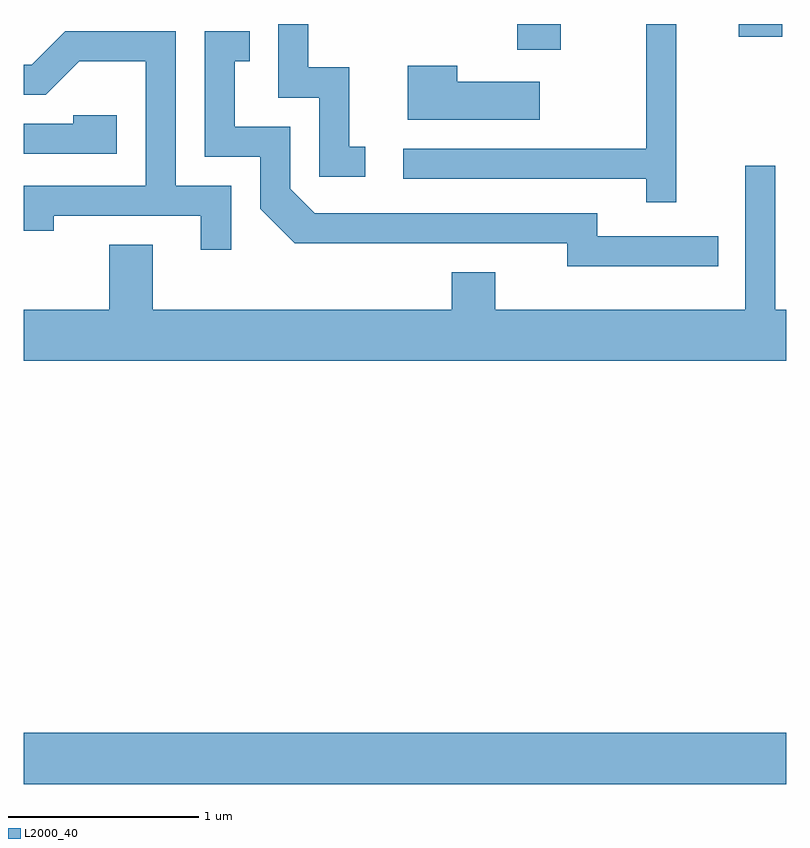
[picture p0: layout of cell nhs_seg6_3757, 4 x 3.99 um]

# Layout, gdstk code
import gdstk
lib = gdstk.Library(unit=1e-6, precision=1e-09)
def R(c, l, rs):  # rectangles x0, y0, x1, y1
    for r in rs: c.add(gdstk.rectangle(r[:2], r[2:], *l))
def P(c, l, *ps):  # polygons
    for p in ps: c.add(gdstk.Polygon(p, *l))
L2000_40 = (2000, 40)

nhs_seg6_3757 = lib.new_cell('nhs_seg6_3757')
R(nhs_seg6_3757, L2000_40, [(297.611,1632.176,301.611,1632.444), (300.201,1636.026,300.429,1636.162), (301.361,1636.096,301.589,1636.162)])
P(nhs_seg6_3757, L2000_40, [(299.403,1635.519),(299.319,1635.519),(299.319,1635.934),(299.104,1635.934),(299.104,1636.162),(298.946,1636.162),(298.946,1635.776),(299.161,1635.776),(299.161,1635.361),(299.403,1635.361)],
  [(301.034,1636.162),(300.876,1636.162),(300.876,1635.509),(299.603,1635.509),(299.603,1635.351),(300.876,1635.351),(300.876,1635.228),(301.034,1635.228)],
  [(298.699,1635.314),(298.409,1635.314),(298.409,1636.124),(297.829,1636.124),(297.654,1635.949),(297.611,1635.949),(297.611,1635.791),(297.727,1635.791),(297.902,1635.966),(298.251,1635.966),(298.251,1635.314),(297.611,1635.314),(297.611,1635.078),(297.769,1635.078),(297.769,1635.156),(298.541,1635.156),(298.541,1634.978),(298.699,1634.978)],
  [(301.253,1635.049),(300.619,1635.049),(300.619,1635.169),(299.137,1635.169),(299.009,1635.297),(299.009,1635.624),(298.719,1635.624),(298.719,1635.966),(298.798,1635.966),(298.798,1636.124),(298.561,1636.124),(298.561,1635.466),(298.851,1635.466),(298.851,1635.194),(299.034,1635.011),(300.461,1635.011),(300.461,1634.891),(301.253,1634.891)],
  [(300.319,1635.859),(299.884,1635.859),(299.884,1635.944),(299.626,1635.944),(299.626,1635.661),(300.319,1635.661)],
  [(298.099,1635.684),(297.871,1635.684),(297.871,1635.639),(297.611,1635.639),(297.611,1635.481),(298.099,1635.481)],
  [(301.611,1634.664),(301.554,1634.664),(301.554,1635.418),(301.396,1635.418),(301.396,1634.664),(300.084,1634.664),(300.084,1634.859),(299.856,1634.859),(299.856,1634.664),(298.289,1634.664),(298.289,1635.004),(298.061,1635.004),(298.061,1634.664),(297.611,1634.664),(297.611,1634.396),(301.611,1634.396)])

lib.write_gds('nhs_seg6_3757.gds')
